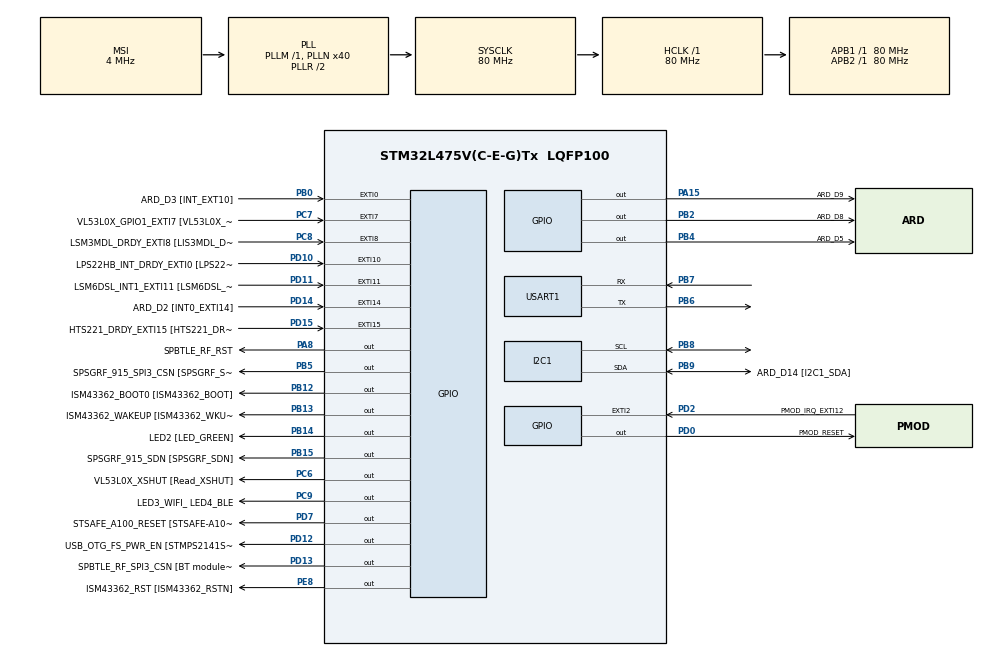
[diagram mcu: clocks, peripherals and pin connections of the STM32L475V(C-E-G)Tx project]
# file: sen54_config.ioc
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I2C1.Timing=0x10D19CE4
Mcu.Family=STM32L4
Mcu.Name=STM32L475V(C-E-G)Tx
Mcu.Package=LQFP100
NVIC.EXTI15_10_IRQn=true\:0\:0\:false\:false\:true\:true\:true\:true
NVIC.EXTI9_5_IRQn=true\:0\:0\:false\:false\:true\:true\:true\:true
NVIC.PriorityGroup=NVIC_PRIORITYGROUP_4
PA0.GPIO_Label=ARD_D1 [UART4_TX]
PA0.Signal=UART4_TX
PA1.GPIO_Label=ARD_D0 [UART4_RX]
PA1.Signal=UART4_RX
PA10.GPIO_Label=USB_OTG_FS_ID
PA10.Signal=USB_OTG_FS_ID
PA11.GPIO_Label=USB_OTG_FS_DM
PA11.Signal=USB_OTG_FS_DM
PA12.GPIO_Label=USB_OTG_FS_DP
PA12.Signal=USB_OTG_FS_DP
PA13\ (JTMS-SWDIO).GPIO_Label=SYS_JTMS_SWDIO
PA13\ (JTMS-SWDIO).Signal=SYS_JTMS-SWDIO
PA14\ (JTCK-SWCLK).GPIO_Label=SYS_JTCK_SWCLK
PA14\ (JTCK-SWCLK).Signal=SYS_JTCK-SWCLK
PA15\ (JTDI).GPIO_Label=ARD_D9
PA15\ (JTDI).Signal=GPIO_Output
PA2.GPIO_Label=PMOD_UART2_TX
PA2.Signal=USART2_TX
PA3.GPIO_Label=PMOD_UART2_RX
PA3.Signal=USART2_RX
PA4.GPIO_Label=ARD_D7
PA4.Signal=ADCx_IN9
PA5.GPIO_Label=ARD_D13 [SPI1_SCK]
PA5.Signal=SPI1_SCK
PA6.GPIO_Label=ARD_D12 [SPI1_MISO]
PA6.Signal=SPI1_MISO
PA7.GPIO_Label=ARD_D11 [SPI1_MOSI]
PA7.Signal=SPI1_MOSI
PA8.GPIO_Label=SPBTLE_RF_RST
PA8.Signal=GPIO_Output
PA9.GPIO_Label=USB_OTG_FS_VBUS [STMPS2141STR_OUT]
PA9.Signal=USB_OTG_FS_VBUS
PB0.GPIO_Label=ARD_D3 [INT_EXT10]
PB0.Signal=GPXTI0
PB1.GPIO_Label=ARD_D6 [ADC1_IN6]
PB1.Signal=ADCx_IN16
PB10.GPIO_Label=INTERNAL_I2C2_SCL [VL53L0X_SCL]
PB10.Signal=I2C2_SCL
PB11.GPIO_Label=INTERNAL_I2C2_SDA [VL53L0X_SDA]
PB11.Signal=I2C2_SDA
PB12.GPIO_Label=ISM43362_BOOT0 [ISM43362_BOOT]
PB12.Signal=GPIO_Output
PB13.GPIO_Label=ISM43362_WAKEUP [ISM43362_WKUP]
PB13.Signal=GPIO_Output
PB14.GPIO_Label=LED2 [LED_GREEN]
PB14.Signal=GPIO_Output
PB15.GPIO_Label=SPSGRF_915_SDN [SPSGRF_SDN]
PB15.Signal=GPIO_Output
PB2.GPIO_Label=ARD_D8
PB2.Signal=GPIO_Output
PB3\ (JTDO-TRACESWO).GPIO_Label=SYS_JTD0_SWO
PB3\ (JTDO-TRACESWO).Signal=SYS_JTDO-SWO
PB4\ (NJTRST).GPIO_Label=ARD_D5
PB4\ (NJTRST).Signal=GPIO_Output
PB5.GPIO_Label=SPSGRF_915_SPI3_CSN [SPSGRF_SPI_CS]
PB5.PinState=GPIO_PIN_SET
PB5.Signal=GPIO_Output
PB6.Mode=Asynchronous
PB6.Signal=USART1_TX
PB7.Mode=Asynchronous
PB7.Signal=USART1_RX
PB8.Mode=I2C
PB8.Signal=I2C1_SCL
PB9.GPIO_Label=ARD_D14 [I2C1_SDA]
PB9.Mode=I2C
PB9.Signal=I2C1_SDA
PC0.GPIO_Label=ARD_A5 [ADC]
PC0.Signal=ADCx_IN1
PC1.GPIO_Label=ARD_A4 [ADC]
PC1.Signal=ADCx_IN2
PC10.GPIO_Label=INTERNAL_SPI3_SCK [BT module_SPI_SCLK] [ISM43362_SCK]
PC10.Signal=SPI3_SCK
PC11.GPIO_Label=INTERNAL_SPI3_MISO [BT module_SPI_MISO] [ISM43362_MISO]
PC11.Signal=SPI3_MISO
PC12.GPIO_Label=INTERNAL_SPI3_MOSI [BT module_SPI_MOSI] [ISM43362_MOSI]
PC12.Signal=SPI3_MOSI
PC14-OSC32_IN\ (PC14).Signal=RCC_OSC32_IN
PC15-OSC32_OUT\ (PC15).Signal=RCC_OSC32_OUT
PC2.GPIO_Label=ARD_A3 [ADC]
PC2.Signal=ADCx_IN3
PC3.GPIO_Label=ARD_A2 [ADC]
PC3.Signal=ADCx_IN4
PC4.GPIO_Label=ARD_A1 [ADC]
PC4.Signal=ADCx_IN13
PC5.GPIO_Label=ARD_A0 [ADC]
PC5.Signal=ADCx_IN14
PC6.GPIO_Label=VL53L0X_XSHUT [Read_XSHUT]
PC6.Signal=GPIO_Output
PC7.GPIO_Label=VL53L0X_GPIO1_EXTI7 [VL53L0X_GPIO1]
PC7.Signal=GPXTI7
PC8.GPIO_Label=LSM3MDL_DRDY_EXTI8 [LIS3MDL_DRDY]
PC8.Signal=GPXTI8
PC9.GPIO_Label=LED3_WIFI_ LED4_BLE
PC9.Signal=GPIO_Output
PD0.GPIO_Label=PMOD_RESET
PD0.Signal=GPIO_Output
PD1.GPIO_Label=PMOD_SPI2_SCK
PD1.Signal=SPI2_SCK
PD10.GPIO_Label=LPS22HB_INT_DRDY_EXTI0 [LPS22HB_INT_DRDY] 
PD10.Signal=GPXTI10
PD11.GPIO_Label=LSM6DSL_INT1_EXTI11 [LSM6DSL_INT1]
PD11.Signal=GPXTI11
PD12.GPIO_Label=USB_OTG_FS_PWR_EN [STMPS2141STR_EN]
PD12.Signal=GPIO_Output
PD13.GPIO_Label=SPBTLE_RF_SPI3_CSN [BT module_SPI_CS]
PD13.PinState=GPIO_PIN_SET
PD13.Signal=GPIO_Output
PD14.GPIO_Label=ARD_D2 [INT0_EXTI14]
PD14.Signal=GPXTI14
PD15.GPIO_Label=HTS221_DRDY_EXTI15 [HTS221_DRDY]
PD15.Signal=GPXTI15
PD2.GPIO_Label=PMOD_IRQ_EXTI12
PD2.Signal=GPXTI2
PD3.GPIO_Label=PMOD_UART2_CTS
PD3.Signal=USART2_CTS
PD4.GPIO_Label=PMOD_UART2_RTS
PD4.Signal=USART2_RTS
PD7.GPIO_Label=STSAFE_A100_RESET [STSAFE-A100_RESET]
PD7.Signal=GPIO_Output
PD8.GPIO_Label=INTERNAL_UART3_TX [ISM43362_RX]
PD8.Signal=USART3_TX
PD9.GPIO_Label=INTERNAL_UART3_RX [ISM43362_TX]
PD9.Signal=USART3_RX
PE10.GPIO_Label=QUADSPI_CLK [MX25R6435F_SCLK]
PE10.Signal=QUADSPI_CLK
PE11.GPIO_Label=QUADSPI_NCS [MX25R6435F_SCLK]
PE11.Signal=QUADSPI_NCS
PE12.GPIO_Label=OQUADSPI_BK1_IO0 [MX25R6435F_IO0]
PE12.Signal=QUADSPI_BK1_IO0
PE13.GPIO_Label=QUADSPI_BK1_IO1 [MX25R6435F_IO1]
PE13.Signal=QUADSPI_BK1_IO1
PE14.GPIO_Label=QUAD_SPI_BK1_IO2 [MX25R6435F_IO2]
PE14.Signal=QUADSPI_BK1_IO2
PE15.GPIO_Label=QUAD_SPI_BK1_IO3 [MX25R6435F_IO3]
PE15.Signal=QUADSPI_BK1_IO3
PE7.GPIO_Label=DFSDM1_DATIN2 [MP34DT01_DOUT]
PE7.Signal=S_DATAIN2DFSDM1
PE8.GPIO_Label=ISM43362_RST [ISM43362_RSTN]
PE8.Signal=GPIO_Output
PE9.GPIO_Label=DFSDM1_CKOUT [MP34DT01_CLK]
PE9.Signal=S_CKOUTDFSDM1
ProjectManager.HeapSize=0x200
ProjectManager.StackSize=0x400
ProjectManager.TargetToolchain=STM32CubeIDE
RCC.ADCFreq_Value=48000000
RCC.AHBFreq_Value=80000000
RCC.APB1Freq_Value=80000000
RCC.APB1TimFreq_Value=80000000
RCC.APB2Freq_Value=80000000
RCC.APB2TimFreq_Value=80000000
RCC.CortexFreq_Value=80000000
RCC.HCLKFreq_Value=80000000
RCC.HSE_VALUE=8000000
RCC.HSI_VALUE=16000000
RCC.LSE_VALUE=32768
RCC.MSI_VALUE=4000000
RCC.PLLN=40
RCC.PLLSAI1N=24
RCC.SYSCLKFreq_VALUE=80000000
RCC.SYSCLKSource=RCC_SYSCLKSOURCE_PLLCLK
RCC.USBFreq_Value=48000000
RCC.VCOOutputFreq_Value=160000000
SH.ADCx_IN1.0=ADC1_IN1
SH.ADCx_IN13.0=ADC1_IN13
SH.ADCx_IN14.0=ADC1_IN14
SH.ADCx_IN16.0=ADC1_IN16
SH.ADCx_IN2.0=ADC1_IN2
SH.ADCx_IN3.0=ADC1_IN3
SH.ADCx_IN4.0=ADC1_IN4
SH.ADCx_IN9.0=ADC1_IN9
SH.S_CKOUTDFSDM1.0=DFSDM1_CKOUT
SH.S_DATAIN2DFSDM1.0=DFSDM1_DATIN2
USART1.VirtualMode-Asynchronous=VM_ASYNC
board=B-L475E-IOT01A1

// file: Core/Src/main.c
/* USER CODE BEGIN Header */
/**
  ******************************************************************************
  * @file           : main.c
  * @brief          : Main program body
  ******************************************************************************
  * @attention
  *
  * Copyright (c) 2025 STMicroelectronics.
  * All rights reserved.
  *
  * This software is licensed under terms that can be found in the LICENSE file
  * in the root directory of this software component.
  * If no LICENSE file comes with this software, it is provided AS-IS.
  *
  ******************************************************************************
  */
/* USER CODE END Header */
#include "main.h"

/* USER CODE BEGIN Includes */
#include "string.h"
#include "sen54.h"
#include "sen5x_i2c.h"
#include "stdio.h"

/* USER CODE END Includes */

/* USER CODE BEGIN PTD */
#ifdef __GNUC__
#define PUTCHAR_PROTOTYPE int __io_putchar(int ch)
#else
#define PUTCHAR_PROTOTYPE int fputc(int ch, FILE *f)
#endif

/* USER CODE END PTD */

/* USER CODE BEGIN PD */
extern I2C_HandleTypeDef hi2c1;

/* USER CODE END PD */

I2C_HandleTypeDef hi2c1;

UART_HandleTypeDef huart1;

/* USER CODE BEGIN PV */

PUTCHAR_PROTOTYPE
{
    HAL_UART_Transmit(&huart1, (uint8_t *)&ch, 1, HAL_MAX_DELAY);
    return ch;
}

/* USER CODE END PV */

void SystemClock_Config(void);
static void MX_GPIO_Init(void);
static void MX_I2C1_Init(void);
static void MX_USART1_UART_Init(void);

int main(void)
{

  /* MCU Configuration--------------------------------------------------------*/

  /* Reset of all peripherals, Initializes the Flash interface and the Systick. */
  HAL_Init();

  /* Configure the system clock */
  SystemClock_Config();

  /* Initialize all configured peripherals */
  MX_GPIO_Init();
  MX_I2C1_Init();
  MX_USART1_UART_Init();
  /* USER CODE BEGIN 2 */

  uint8_t sensor_data[60];  // Buffer large enough for full data

  uint8_t buffer[48];
  sen5x_get_product_name(buffer, 48);
  int16_t error = sen5x_device_reset();
  error = sen5x_start_measurement();

  uint16_t mass_concentration_pm1p0;
  uint16_t mass_concentration_pm2p5;
  uint16_t mass_concentration_pm4p0;
  uint16_t mass_concentration_pm10p0;
  int16_t ambient_humidity;
  int16_t ambient_temperature;
  int16_t voc_index;
  int16_t nox_index;

  HAL_Delay(1000);

  error = sen5x_read_measured_values(
      &mass_concentration_pm1p0, &mass_concentration_pm2p5,
      &mass_concentration_pm4p0, &mass_concentration_pm10p0,
      &ambient_humidity, &ambient_temperature, &voc_index, &nox_index);

  if (sen54_init(&hi2c1) == HAL_OK)
  {
      printf("Sensor initialized.\r\n");
  } else {
      printf("Sensor init failed.\r\n");
  }

  if (sen54_read_measurements(&hi2c1, sensor_data, sizeof(sensor_data)) == HAL_OK) {
      /*printf("Measurement received:\r\n");*/

      for (int i = 0; i < sizeof(sensor_data); i++) {
          printf("%02X ", sensor_data[i]);
      }
      printf("\r\n");
  }

  /*else {
      printf("Measurement read failed\r\n");
  }*/

  if (sen54_read_measurements(&hi2c1, sensor_data, sizeof(sensor_data)) == HAL_OK) {
	      /*printf("Measurement received:\r\n");*/

	      /*for (int i = 0; i < sizeof(sensor_data); i++) {
	          printf("%02X ", sensor_data[i]);
	      }*/

	      /*printf("Mass Concentration PM1.0:\r\n");
	      for (int i = 0; i < 2; i++) {
	      	  printf("%02X ", sensor_data[i]);
	      }*/
	      printf("\r\n");
	      uint16_t raw_mc_1 = ((uint16_t)sensor_data[0] << 8) | sensor_data[1];
	      mass_concentration_pm1p0 = raw_mc_1/10.0f;
	      int mc_1_int = (int)(mass_concentration_pm1p0 + 0.5f);
	      printf("\r\nMass Concentration PM1.0: %.d °C\r\n", mc_1_int);

	      /*printf("Mass Concentration PM2.5:\r\n");
	      for (int i = 3; i < 5; i++) {
	    	  printf("%02X ", sensor_data[i]);
	      }*/
	      printf("\r\n");
	      uint16_t raw_mc_25 = ((uint16_t)sensor_data[3] << 8) | sensor_data[4];
	      mass_concentration_pm2p5 = raw_mc_25/10.0f;
	      int mc_25_int = (int)(mass_concentration_pm2p5 + 0.5f);
	      printf("\r\nMass Concentration PM2.5: %.d °C\r\n", mc_25_int);

	      /*printf("Mass Concentration PM4.0:\r\n");
	      for (int i = 6; i < 8; i++) {
	    	  printf("%02X ", sensor_data[i]);
	      }*/
	      printf("\r\n");
	      uint16_t raw_mc_4 = ((uint16_t)sensor_data[6] << 8) | sensor_data[7];
	      mass_concentration_pm4p0 = raw_mc_4/10.0f;
	      int mc_4_int = (int)(mass_concentration_pm4p0 + 0.5f);
	      printf("\r\nMass Concentration PM4.0: %.d °C\r\n", mc_4_int);

	      /*printf("Mass Concentration PM10:\r\n");
	      for (int i = 9; i < 11; i++) {
	    	  printf("%02X ", sensor_data[i]);
	      }*/
	      printf("\r\n");
	      uint16_t raw_mc_10 = ((uint16_t)sensor_data[9] << 8) | sensor_data[10];
	      mass_concentration_pm10p0 = raw_mc_10/10.0f;
	      int mc_10_int = (int)(mass_concentration_pm10p0 + 0.5f);
	      printf("\r\nMass Concentration PM10.0: %.d °C\r\n", mc_10_int);

	      /*printf("Compensated Ambient Humidity:\r\n");
	      for (int i = 12; i < 14; i++) {
	    	  printf("%02X ", sensor_data[i]);
	      }*/
	      printf("\r\n");
	      uint16_t raw_hum = ((uint16_t)sensor_data[12] << 8) | sensor_data[13];
	      ambient_humidity = raw_hum/100.0f;
	      int hum_int = (int)(ambient_humidity + 0.5f);
	      printf("\r\nAmbient Humidity: %.d %\r\n", hum_int);

	      //printf("Compensated Ambient Temperature:\r\n");
	      /*for (int i = 15; i < 17; i++) {
	          printf("%02X ", sensor_data[i]);
	      }*/
	      uint16_t raw_temp = ((uint16_t)sensor_data[15] << 8) | sensor_data[16];
	      float room_temperature = raw_temp / 200.0f;
	      int temp_int = (int)(room_temperature + 0.5f);
	      printf("\r\nAmbient Temperature: %.d °C\r\n", temp_int);

	      /*printf("VOC Index:\r\n");
	      for (int i = 18; i < 20; i++) {
	    	  printf("%02X ", sensor_data[i]);
	      }
	      printf("\r\n");
	      uint16_t raw_temp = ((uint16_t)sensor_data[15 ] << 8) | sensor_data[15 * 3 + 1];
	      ambient_temperature = raw_temp / 200.0f;
	      int temp_int = (int)(ambient_temperature + 0.5f);
	      printf("\r\nVOC Index: %.d °C\r\n", temp_int);

	      printf("VOC Index:\r\n");
	      for (int i = 21; i < 23; i++) {
	    	  printf("%02X ", sensor_data[i]);
	      }
	      printf("\r\n");*/

	  }
  /* USER CODE END 2 */

  /* Infinite loop */
  while (1)
  {

    /* USER CODE BEGIN 3 */
	 /* printf("Compensated Ambient Temperature:\r\n");
	  for (int i = 15; i < 17; i++) {
		  printf("%02X ", sensor_data[i]);
	  }*/

	  uint16_t raw_temp = ((uint16_t)sensor_data[15] << 8) | sensor_data[16];
	  float room_temperature = raw_temp / 200.0f;
	  int temp_int = (int)(room_temperature + 0.5f);
	  printf("\r\nAmbient Temperature: %.d °C\r\n", temp_int);

	  printf("\r\n");

	  uint16_t raw_hum = ((uint16_t)sensor_data[12] << 8) | sensor_data[13];
	  ambient_humidity = raw_hum/100.0f;
	  int hum_int = (int)(ambient_humidity + 0.5f);
	  printf("\r\nAmbient Humidity: %.d %\r\n", hum_int);
  }
  /* USER CODE END 3 */
}

void SystemClock_Config(void)
{
  RCC_OscInitTypeDef RCC_OscInitStruct = {0};
  RCC_ClkInitTypeDef RCC_ClkInitStruct = {0};

  /** Configure the main internal regulator output voltage
  */
  if (HAL_PWREx_ControlVoltageScaling(PWR_REGULATOR_VOLTAGE_SCALE1) != HAL_OK)
  {
    Error_Handler();
  }

  /** Initializes the RCC Oscillators according to the specified parameters
  * in the RCC_OscInitTypeDef structure.
  */
  RCC_OscInitStruct.OscillatorType = RCC_OSCILLATORTYPE_MSI;
  RCC_OscInitStruct.MSIState = RCC_MSI_ON;
  RCC_OscInitStruct.MSICalibrationValue = 0;
  RCC_OscInitStruct.MSIClockRange = RCC_MSIRANGE_6;
  RCC_OscInitStruct.PLL.PLLState = RCC_PLL_ON;
  RCC_OscInitStruct.PLL.PLLSource = RCC_PLLSOURCE_MSI;
  RCC_OscInitStruct.PLL.PLLM = 1;
  RCC_OscInitStruct.PLL.PLLN = 40;
  RCC_OscInitStruct.PLL.PLLP = RCC_PLLP_DIV7;
  RCC_OscInitStruct.PLL.PLLQ = RCC_PLLQ_DIV2;
  RCC_OscInitStruct.PLL.PLLR = RCC_PLLR_DIV2;
  if (HAL_RCC_OscConfig(&RCC_OscInitStruct) != HAL_OK)
  {
    Error_Handler();
  }

  /** Initializes the CPU, AHB and APB buses clocks
  */
  RCC_ClkInitStruct.ClockType = RCC_CLOCKTYPE_HCLK|RCC_CLOCKTYPE_SYSCLK
                              |RCC_CLOCKTYPE_PCLK1|RCC_CLOCKTYPE_PCLK2;
  RCC_ClkInitStruct.SYSCLKSource = RCC_SYSCLKSOURCE_PLLCLK;
  RCC_ClkInitStruct.AHBCLKDivider = RCC_SYSCLK_DIV1;
  RCC_ClkInitStruct.APB1CLKDivider = RCC_HCLK_DIV1;
  RCC_ClkInitStruct.APB2CLKDivider = RCC_HCLK_DIV1;

  if (HAL_RCC_ClockConfig(&RCC_ClkInitStruct, FLASH_LATENCY_4) != HAL_OK)
  {
    Error_Handler();
  }
}

static void MX_I2C1_Init(void)
{

  hi2c1.Instance = I2C1;
  hi2c1.Init.Timing = 0x10D19CE4;
  hi2c1.Init.OwnAddress1 = 0;
  hi2c1.Init.AddressingMode = I2C_ADDRESSINGMODE_7BIT;
  hi2c1.Init.DualAddressMode = I2C_DUALADDRESS_DISABLE;
  hi2c1.Init.OwnAddress2 = 0;
  hi2c1.Init.OwnAddress2Masks = I2C_OA2_NOMASK;
  hi2c1.Init.GeneralCallMode = I2C_GENERALCALL_DISABLE;
  hi2c1.Init.NoStretchMode = I2C_NOSTRETCH_DISABLE;
  if (HAL_I2C_Init(&hi2c1) != HAL_OK)
  {
    Error_Handler();
  }

  /** Configure Analogue filter
  */
  if (HAL_I2CEx_ConfigAnalogFilter(&hi2c1, I2C_ANALOGFILTER_ENABLE) != HAL_OK)
  {
    Error_Handler();
  }

  /** Configure Digital filter
  */
  if (HAL_I2CEx_ConfigDigitalFilter(&hi2c1, 0) != HAL_OK)
  {
    Error_Handler();
  }

}

void scan_i2c_bus(I2C_HandleTypeDef *hi2c) {
    printf("Scanning I2C bus...\r\n");
    for (uint8_t addr = 1; addr < 128; addr++) {
        if (HAL_I2C_IsDeviceReady(hi2c, addr << 1, 1, 10) == HAL_OK) {
            printf("Device found at 0x%02X\r\n", addr);
        }
    }
}

static void MX_USART1_UART_Init(void)
{

  huart1.Instance = USART1;
  huart1.Init.BaudRate = 115200;
  huart1.Init.WordLength = UART_WORDLENGTH_8B;
  huart1.Init.StopBits = UART_STOPBITS_1;
  huart1.Init.Parity = UART_PARITY_NONE;
  huart1.Init.Mode = UART_MODE_TX_RX;
  huart1.Init.HwFlowCtl = UART_HWCONTROL_NONE;
  huart1.Init.OverSampling = UART_OVERSAMPLING_16;
  huart1.Init.OneBitSampling = UART_ONE_BIT_SAMPLE_DISABLE;
  huart1.AdvancedInit.AdvFeatureInit = UART_ADVFEATURE_NO_INIT;
  if (HAL_UART_Init(&huart1) != HAL_OK)
  {
    Error_Handler();
  }

}

static void MX_GPIO_Init(void)
{
  GPIO_InitTypeDef GPIO_InitStruct = {0};

  /* GPIO Ports Clock Enable */
  __HAL_RCC_GPIOC_CLK_ENABLE();
  __HAL_RCC_GPIOA_CLK_ENABLE();
  __HAL_RCC_GPIOB_CLK_ENABLE();
  __HAL_RCC_GPIOE_CLK_ENABLE();
  __HAL_RCC_GPIOD_CLK_ENABLE();

  /*Configure GPIO pin Output Level */
  HAL_GPIO_WritePin(GPIOB, ARD_D8_Pin|ISM43362_BOOT0_Pin|ISM43362_WAKEUP_Pin|LED2_Pin
                          |SPSGRF_915_SDN_Pin|ARD_D5_Pin, GPIO_PIN_RESET);

  /*Configure GPIO pin Output Level */
  HAL_GPIO_WritePin(ISM43362_RST_GPIO_Port, ISM43362_RST_Pin, GPIO_PIN_RESET);

  /*Configure GPIO pin Output Level */
  HAL_GPIO_WritePin(GPIOD, USB_OTG_FS_PWR_EN_Pin|PMOD_RESET_Pin|STSAFE_A100_RESET_Pin, GPIO_PIN_RESET);

  /*Configure GPIO pin Output Level */
  HAL_GPIO_WritePin(SPBTLE_RF_SPI3_CSN_GPIO_Port, SPBTLE_RF_SPI3_CSN_Pin, GPIO_PIN_SET);

  /*Configure GPIO pin Output Level */
  HAL_GPIO_WritePin(GPIOC, VL53L0X_XSHUT_Pin|LED3_WIFI__LED4_BLE_Pin, GPIO_PIN_RESET);

  /*Configure GPIO pin Output Level */
  HAL_GPIO_WritePin(GPIOA, SPBTLE_RF_RST_Pin|ARD_D9_Pin, GPIO_PIN_RESET);

  /*Configure GPIO pin Output Level */
  HAL_GPIO_WritePin(SPSGRF_915_SPI3_CSN_GPIO_Port, SPSGRF_915_SPI3_CSN_Pin, GPIO_PIN_SET);

  /*Configure GPIO pins : ARD_A5_Pin ARD_A4_Pin ARD_A3_Pin ARD_A2_Pin
                           ARD_A1_Pin ARD_A0_Pin */
  GPIO_InitStruct.Pin = ARD_A5_Pin|ARD_A4_Pin|ARD_A3_Pin|ARD_A2_Pin
                          |ARD_A1_Pin|ARD_A0_Pin;
  GPIO_InitStruct.Mode = GPIO_MODE_ANALOG_ADC_CONTROL;
  GPIO_InitStruct.Pull = GPIO_NOPULL;
  HAL_GPIO_Init(GPIOC, &GPIO_InitStruct);

  /*Configure GPIO pins : ARD_D1_Pin ARD_D0_Pin */
  GPIO_InitStruct.Pin = ARD_D1_Pin|ARD_D0_Pin;
  GPIO_InitStruct.Mode = GPIO_MODE_AF_PP;
  GPIO_InitStruct.Pull = GPIO_NOPULL;
  GPIO_InitStruct.Speed = GPIO_SPEED_FREQ_VERY_HIGH;
  GPIO_InitStruct.Alternate = GPIO_AF8_UART4;
  HAL_GPIO_Init(GPIOA, &GPIO_InitStruct);

  /*Configure GPIO pins : PMOD_UART2_TX_Pin PMOD_UART2_RX_Pin */
  GPIO_InitStruct.Pin = PMOD_UART2_TX_Pin|PMOD_UART2_RX_Pin;
  GPIO_InitStruct.Mode = GPIO_MODE_AF_PP;
  GPIO_InitStruct.Pull = GPIO_NOPULL;
  GPIO_InitStruct.Speed = GPIO_SPEED_FREQ_VERY_HIGH;
  GPIO_InitStruct.Alternate = GPIO_AF7_USART2;
  HAL_GPIO_Init(GPIOA, &GPIO_InitStruct);

  /*Configure GPIO pin : ARD_D7_Pin */
  GPIO_InitStruct.Pin = ARD_D7_Pin;
  GPIO_InitStruct.Mode = GPIO_MODE_ANALOG_ADC_CONTROL;
  GPIO_InitStruct.Pull = GPIO_NOPULL;
  HAL_GPIO_Init(ARD_D7_GPIO_Port, &GPIO_InitStruct);

  /*Configure GPIO pins : ARD_D13_Pin ARD_D12_Pin ARD_D11_Pin */
  GPIO_InitStruct.Pin = ARD_D13_Pin|ARD_D12_Pin|ARD_D11_Pin;
  GPIO_InitStruct.Mode = GPIO_MODE_AF_PP;
  GPIO_InitStruct.Pull = GPIO_NOPULL;
  GPIO_InitStruct.Speed = GPIO_SPEED_FREQ_VERY_HIGH;
  GPIO_InitStruct.Alternate = GPIO_AF5_SPI1;
  HAL_GPIO_Init(GPIOA, &GPIO_InitStruct);

  /*Configure GPIO pin : ARD_D3_Pin */
  GPIO_InitStruct.Pin = ARD_D3_Pin;
  GPIO_InitStruct.Mode = GPIO_MODE_IT_RISING;
  GPIO_InitStruct.Pull = GPIO_NOPULL;
  HAL_GPIO_Init(ARD_D3_GPIO_Port, &GPIO_InitStruct);

  /*Configure GPIO pin : ARD_D6_Pin */
  GPIO_InitStruct.Pin = ARD_D6_Pin;
  GPIO_InitStruct.Mode = GPIO_MODE_ANALOG_ADC_CONTROL;
  GPIO_InitStruct.Pull = GPIO_NOPULL;
  HAL_GPIO_Init(ARD_D6_GPIO_Port, &GPIO_InitStruct);

  /*Configure GPIO pins : ARD_D8_Pin ISM43362_BOOT0_Pin ISM43362_WAKEUP_Pin LED2_Pin
                           SPSGRF_915_SDN_Pin ARD_D5_Pin SPSGRF_915_SPI3_CSN_Pin */
  GPIO_InitStruct.Pin = ARD_D8_Pin|ISM43362_BOOT0_Pin|ISM43362_WAKEUP_Pin|LED2_Pin
                          |SPSGRF_915_SDN_Pin|ARD_D5_Pin|SPSGRF_915_SPI3_CSN_Pin;
  GPIO_InitStruct.Mode = GPIO_MODE_OUTPUT_PP;
  GPIO_InitStruct.Pull = GPIO_NOPULL;
  GPIO_InitStruct.Speed = GPIO_SPEED_FREQ_LOW;
  HAL_GPIO_Init(GPIOB, &GPIO_InitStruct);

  /*Configure GPIO pins : DFSDM1_DATIN2_Pin DFSDM1_CKOUT_Pin */
  GPIO_InitStruct.Pin = DFSDM1_DATIN2_Pin|DFSDM1_CKOUT_Pin;
  GPIO_InitStruct.Mode = GPIO_MODE_AF_PP;
  GPIO_InitStruct.Pull = GPIO_NOPULL;
  GPIO_InitStruct.Speed = GPIO_SPEED_FREQ_LOW;
  GPIO_InitStruct.Alternate = GPIO_AF6_DFSDM1;
  HAL_GPIO_Init(GPIOE, &GPIO_InitStruct);

  /*Configure GPIO pin : ISM43362_RST_Pin */
  GPIO_InitStruct.Pin = ISM43362_RST_Pin;
  GPIO_InitStruct.Mode = GPIO_MODE_OUTPUT_PP;
  GPIO_InitStruct.Pull = GPIO_NOPULL;
  GPIO_InitStruct.Speed = GPIO_SPEED_FREQ_LOW;
  HAL_GPIO_Init(ISM43362_RST_GPIO_Port, &GPIO_InitStruct);

  /*Configure GPIO pins : QUADSPI_CLK_Pin QUADSPI_NCS_Pin OQUADSPI_BK1_IO0_Pin QUADSPI_BK1_IO1_Pin
                           QUAD_SPI_BK1_IO2_Pin QUAD_SPI_BK1_IO3_Pin */
  GPIO_InitStruct.Pin = QUADSPI_CLK_Pin|QUADSPI_NCS_Pin|OQUADSPI_BK1_IO0_Pin|QUADSPI_BK1_IO1_Pin
                          |QUAD_SPI_BK1_IO2_Pin|QUAD_SPI_BK1_IO3_Pin;
  GPIO_InitStruct.Mode = GPIO_MODE_AF_PP;
  GPIO_InitStruct.Pull = GPIO_NOPULL;
  GPIO_InitStruct.Speed = GPIO_SPEED_FREQ_VERY_HIGH;
  GPIO_InitStruct.Alternate = GPIO_AF10_QUADSPI;
  HAL_GPIO_Init(GPIOE, &GPIO_InitStruct);

  /*Configure GPIO pins : INTERNAL_I2C2_SCL_Pin INTERNAL_I2C2_SDA_Pin */
  GPIO_InitStruct.Pin = INTERNAL_I2C2_SCL_Pin|INTERNAL_I2C2_SDA_Pin;
  GPIO_InitStruct.Mode = GPIO_MODE_AF_OD;
  GPIO_InitStruct.Pull = GPIO_NOPULL;
  GPIO_InitStruct.Speed = GPIO_SPEED_FREQ_VERY_HIGH;
  GPIO_InitStruct.Alternate = GPIO_AF4_I2C2;
  HAL_GPIO_Init(GPIOB, &GPIO_InitStruct);

  /*Configure GPIO pins : INTERNAL_UART3_TX_Pin INTERNAL_UART3_RX_Pin */
  GPIO_InitStruct.Pin = INTERNAL_UART3_TX_Pin|INTERNAL_UART3_RX_Pin;
  GPIO_InitStruct.Mode = GPIO_MODE_AF_PP;
  GPIO_InitStruct.Pull = GPIO_NOPULL;
  GPIO_InitStruct.Speed = GPIO_SPEED_FREQ_VERY_HIGH;
  GPIO_InitStruct.Alternate = GPIO_AF7_USART3;
  HAL_GPIO_Init(GPIOD, &GPIO_InitStruct);

  /*Configure GPIO pins : LPS22HB_INT_DRDY_EXTI0_Pin LSM6DSL_INT1_EXTI11_Pin ARD_D2_Pin HTS221_DRDY_EXTI15_Pin
                           PMOD_IRQ_EXTI12_Pin */
  GPIO_InitStruct.Pin = LPS22HB_INT_DRDY_EXTI0_Pin|LSM6DSL_INT1_EXTI11_Pin|ARD_D2_Pin|HTS221_DRDY_EXTI15_Pin
                          |PMOD_IRQ_EXTI12_Pin;
  GPIO_InitStruct.Mode = GPIO_MODE_IT_RISING;
  GPIO_InitStruct.Pull = GPIO_NOPULL;
  HAL_GPIO_Init(GPIOD, &GPIO_InitStruct);

  /*Configure GPIO pins : USB_OTG_FS_PWR_EN_Pin SPBTLE_RF_SPI3_CSN_Pin PMOD_RESET_Pin STSAFE_A100_RESET_Pin */
  GPIO_InitStruct.Pin = USB_OTG_FS_PWR_EN_Pin|SPBTLE_RF_SPI3_CSN_Pin|PMOD_RESET_Pin|STSAFE_A100_RESET_Pin;
  GPIO_InitStruct.Mode = GPIO_MODE_OUTPUT_PP;
  GPIO_InitStruct.Pull = GPIO_NOPULL;
  GPIO_InitStruct.Speed = GPIO_SPEED_FREQ_LOW;
  HAL_GPIO_Init(GPIOD, &GPIO_InitStruct);

  /*Configure GPIO pins : VL53L0X_XSHUT_Pin LED3_WIFI__LED4_BLE_Pin */
  GPIO_InitStruct.Pin = VL53L0X_XSHUT_Pin|LED3_WIFI__LED4_BLE_Pin;
  GPIO_InitStruct.Mode = GPIO_MODE_OUTPUT_PP;
  GPIO_InitStruct.Pull = GPIO_NOPULL;
  GPIO_InitStruct.Speed = GPIO_SPEED_FREQ_LOW;
  HAL_GPIO_Init(GPIOC, &GPIO_InitStruct);

  /*Configure GPIO pins : VL53L0X_GPIO1_EXTI7_Pin LSM3MDL_DRDY_EXTI8_Pin */
  GPIO_InitStruct.Pin = VL53L0X_GPIO1_EXTI7_Pin|LSM3MDL_DRDY_EXTI8_Pin;
  GPIO_InitStruct.Mode = GPIO_MODE_IT_RISING;
  GPIO_InitStruct.Pull = GPIO_NOPULL;
  HAL_GPIO_Init(GPIOC, &GPIO_InitStruct);

  /*Configure GPIO pins : SPBTLE_RF_RST_Pin ARD_D9_Pin */
  GPIO_InitStruct.Pin = SPBTLE_RF_RST_Pin|ARD_D9_Pin;
  GPIO_InitStruct.Mode = GPIO_MODE_OUTPUT_PP;
  GPIO_InitStruct.Pull = GPIO_NOPULL;
  GPIO_InitStruct.Speed = GPIO_SPEED_FREQ_LOW;
  HAL_GPIO_Init(GPIOA, &GPIO_InitStruct);

  /*Configure GPIO pin : USB_OTG_FS_VBUS_Pin */
  GPIO_InitStruct.Pin = USB_OTG_FS_VBUS_Pin;
  GPIO_InitStruct.Mode = GPIO_MODE_INPUT;
  GPIO_InitStruct.Pull = GPIO_NOPULL;
  HAL_GPIO_Init(USB_OTG_FS_VBUS_GPIO_Port, &GPIO_InitStruct);

  /*Configure GPIO pins : USB_OTG_FS_ID_Pin USB_OTG_FS_DM_Pin USB_OTG_FS_DP_Pin */
  GPIO_InitStruct.Pin = USB_OTG_FS_ID_Pin|USB_OTG_FS_DM_Pin|USB_OTG_FS_DP_Pin;
  GPIO_InitStruct.Mode = GPIO_MODE_AF_PP;
  GPIO_InitStruct.Pull = GPIO_NOPULL;
  GPIO_InitStruct.Speed = GPIO_SPEED_FREQ_VERY_HIGH;
  GPIO_InitStruct.Alternate = GPIO_AF10_OTG_FS;
  HAL_GPIO_Init(GPIOA, &GPIO_InitStruct);

  /*Configure GPIO pins : INTERNAL_SPI3_SCK_Pin INTERNAL_SPI3_MISO_Pin INTERNAL_SPI3_MOSI_Pin */
  GPIO_InitStruct.Pin = INTERNAL_SPI3_SCK_Pin|INTERNAL_SPI3_MISO_Pin|INTERNAL_SPI3_MOSI_Pin;
  GPIO_InitStruct.Mode = GPIO_MODE_AF_PP;
  GPIO_InitStruct.Pull = GPIO_NOPULL;
  GPIO_InitStruct.Speed = GPIO_SPEED_FREQ_VERY_HIGH;
  GPIO_InitStruct.Alternate = GPIO_AF6_SPI3;
  HAL_GPIO_Init(GPIOC, &GPIO_InitStruct);

  /*Configure GPIO pin : PMOD_SPI2_SCK_Pin */
  GPIO_InitStruct.Pin = PMOD_SPI2_SCK_Pin;
  GPIO_InitStruct.Mode = GPIO_MODE_AF_PP;
  GPIO_InitStruct.Pull = GPIO_NOPULL;
  GPIO_InitStruct.Speed = GPIO_SPEED_FREQ_VERY_HIGH;
  GPIO_InitStruct.Alternate = GPIO_AF5_SPI2;
  HAL_GPIO_Init(PMOD_SPI2_SCK_GPIO_Port, &GPIO_InitStruct);

  /*Configure GPIO pins : PMOD_UART2_CTS_Pin PMOD_UART2_RTS_Pin */
  GPIO_InitStruct.Pin = PMOD_UART2_CTS_Pin|PMOD_UART2_RTS_Pin;
  GPIO_InitStruct.Mode = GPIO_MODE_AF_PP;
  GPIO_InitStruct.Pull = GPIO_NOPULL;
  GPIO_InitStruct.Speed = GPIO_SPEED_FREQ_VERY_HIGH;
  GPIO_InitStruct.Alternate = GPIO_AF7_USART2;
  HAL_GPIO_Init(GPIOD, &GPIO_InitStruct);

  /* EXTI interrupt init*/
  HAL_NVIC_SetPriority(EXTI9_5_IRQn, 0, 0);
  HAL_NVIC_EnableIRQ(EXTI9_5_IRQn);

  HAL_NVIC_SetPriority(EXTI15_10_IRQn, 0, 0);
  HAL_NVIC_EnableIRQ(EXTI15_10_IRQn);

}

void Error_Handler(void)
{
  __disable_irq();
  while (1)
  {
  }
}
